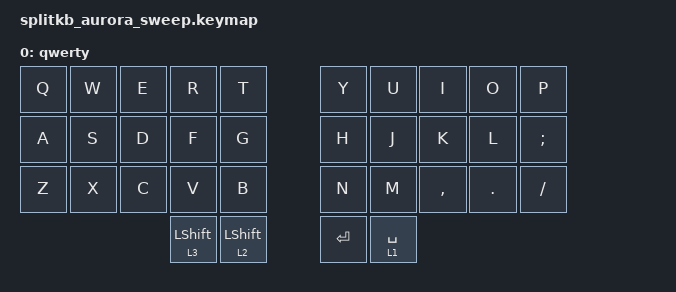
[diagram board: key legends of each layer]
/*
 * Copyright (c) 2022 The ZMK Contributors
 *
 * SPDX-License-Identifier: MIT
 */

#include <behaviors.dtsi>
#include <dt-bindings/zmk/keys.h>
#include <dt-bindings/zmk/bt.h>

#include "zmk-helpers/helper.h"

/* source key definitions */
#include "zmk-helpers/key-labels/36.h"

#define XXX &none
#define ___ &trans

/* Global settings */

/* Homerow mods */
#define QUICK_TAP_MS 175
#define KEYS_L LT0 LT1 LT2 LT3 LT4 LM0 LM1 LM2 LM3 LM4 LB0 LB1 LB2 LB3 LB4  // left hand
#define KEYS_R RT0 RT1 RT2 RT3 RT4 RM0 RM1 RM2 RM3 RM4 RB0 RB1 RB2 RB3 RB4  // right hand
#define THUMBS LH1 LH0 RH0 RH1                                              // thumbs


/* Keymap */

ZMK_LAYER(qwerty,
//╭─────────────┬─────────────┬─────────────┬─────────────┬─────────────╮ ╭─────────────┬─────────────┬─────────────┬─────────────┬─────────────╮
    &kp Q         &kp W         &kp E         &kp R         &kp T           &kp Y         &kp U         &kp I         &kp O         &kp P
//├─────────────┼─────────────┼─────────────┼─────────────┼─────────────┤ ├─────────────┼─────────────┼─────────────┼─────────────┼─────────────┤
    &kp A         &kp S         &kp D         &kp F         &kp G           &kp H         &kp J         &kp K         &kp L         &kp SEMI
//├─────────────┼─────────────┼─────────────┼─────────────┼─────────────┤ ├─────────────┼─────────────┼─────────────┼─────────────┼─────────────┤
    &kp Z         &kp X         &kp C         &kp V         &kp B           &kp N          &kp M        &kp CMMA      &kp DOT       &kp SLASH
//╰─────────────┼─────────────┼─────────────┼─────────────┼─────────────┤ ├─────────────┼─────────────┼─────────────┼─────────────┼─────────────╯
                                              &lt 3 LSHFT   &lt 2 LSHFT     &kp RET        &lt 1 SPACE
//                                          ╰─────────────┴─────────────╯ ╰─────────────┴─────────────╯
)
